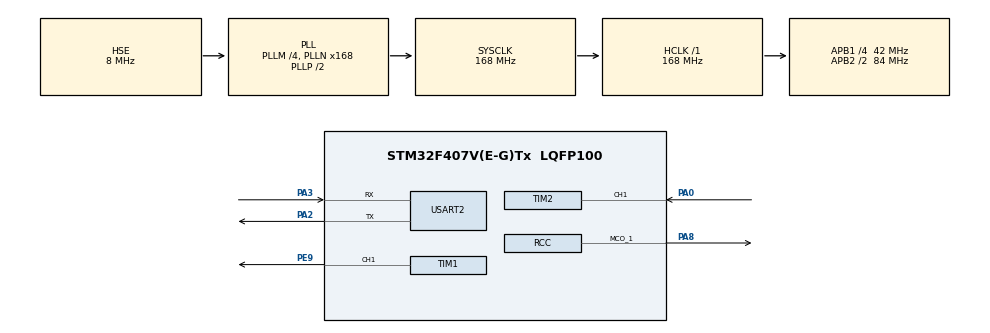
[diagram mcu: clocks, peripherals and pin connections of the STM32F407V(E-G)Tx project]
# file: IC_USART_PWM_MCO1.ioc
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Mcu.Family=STM32F4
Mcu.Name=STM32F407V(E-G)Tx
Mcu.Package=LQFP100
NVIC.PriorityGroup=NVIC_PRIORITYGROUP_4
NVIC.TIM2_IRQn=true\:0\:0\:false\:false\:true\:true\:true\:true
NVIC.USART2_IRQn=true\:0\:0\:false\:false\:true\:true\:true\:true
PA0-WKUP.Signal=S_TIM2_CH1_ETR
PA2.Mode=Asynchronous
PA2.Signal=USART2_TX
PA3.Mode=Asynchronous
PA3.Signal=USART2_RX
PA8.Mode=Clock-out-1
PA8.Signal=RCC_MCO_1
PC14-OSC32_IN.Mode=LSE-External-Oscillator
PC14-OSC32_IN.Signal=RCC_OSC32_IN
PC15-OSC32_OUT.Mode=LSE-External-Oscillator
PC15-OSC32_OUT.Signal=RCC_OSC32_OUT
PE9.Signal=S_TIM1_CH1
PH0-OSC_IN.Mode=HSE-External-Oscillator
PH0-OSC_IN.Signal=RCC_OSC_IN
PH1-OSC_OUT.Mode=HSE-External-Oscillator
PH1-OSC_OUT.Signal=RCC_OSC_OUT
ProjectManager.HeapSize=0x200
ProjectManager.StackSize=0x400
ProjectManager.TargetToolchain=STM32CubeIDE
RCC.48MHZClocksFreq_Value=84000000
RCC.AHBFreq_Value=168000000
RCC.APB1CLKDivider=RCC_HCLK_DIV4
RCC.APB1Freq_Value=42000000
RCC.APB1TimFreq_Value=84000000
RCC.APB2CLKDivider=RCC_HCLK_DIV2
RCC.APB2Freq_Value=84000000
RCC.APB2TimFreq_Value=168000000
RCC.CortexFreq_Value=168000000
RCC.HCLKFreq_Value=168000000
RCC.HSE_VALUE=8000000
RCC.HSI_VALUE=16000000
RCC.PLLM=4
RCC.PLLN=168
RCC.PLLSourceVirtual=RCC_PLLSOURCE_HSE
RCC.RCC_MCO1Source=RCC_MCO1SOURCE_LSE
RCC.RCC_MCODiv1=RCC_MCODIV_4
RCC.SYSCLKFreq_VALUE=168000000
RCC.SYSCLKSource=RCC_SYSCLKSOURCE_PLLCLK
RCC.VCOOutputFreq_Value=336000000
SH.S_TIM1_CH1.0=TIM1_CH1,PWM Generation1 CH1
SH.S_TIM2_CH1_ETR.0=TIM2_CH1,Input_Capture1_from_TI1
TIM1.Channel-PWM\ Generation1\ CH1=TIM_CHANNEL_1
TIM1.Period=100-1
TIM1.Prescaler=168-1
TIM2.Channel-Input_Capture1_from_TI1=TIM_CHANNEL_1
TIM2.Prescaler=84-1
USART2.VirtualMode=VM_ASYNC
VP_TIM1_VS_ClockSourceINT.Mode=Internal
VP_TIM2_VS_ClockSourceINT.Mode=Internal
board=custom

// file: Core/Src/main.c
/* USER CODE BEGIN Header */
/**
  ******************************************************************************
  * @file           : main.c
  * @brief          : Main program body
  ******************************************************************************
  * @attention
  *
  * Copyright (c) 2024 STMicroelectronics.
  * All rights reserved.
  *
  * This software is licensed under terms that can be found in the LICENSE file
  * in the root directory of this software component.
  * If no LICENSE file comes with this software, it is provided AS-IS.
  *
  ******************************************************************************
  */
/* USER CODE END Header */
#include "main.h"
#include <string.h>

TIM_HandleTypeDef htim1;
TIM_HandleTypeDef htim2;

UART_HandleTypeDef huart2;

void SystemClock_Config(void);
static void MX_GPIO_Init(void);
static void MX_TIM1_Init(void);
static void MX_TIM2_Init(void);
static void MX_USART2_UART_Init(void);
/* USER CODE BEGIN PFP */

#define TIMCLOCK   84000000
#define PRESCALAR  84

/* USER CODE END PFP */

/* USER CODE BEGIN 0 */

char *data = "Init\r\n";
uint8_t temp[4];
uint8_t data_buffer[100];
uint8_t rx_data;
uint32_t count = 0;

uint32_t IC_Val1 = 0;
uint32_t IC_Val2 = 0;
uint32_t Difference = 0;
int Is_First_Captured = 0;

/* Measure Frequency */
float frequency = 0;

void HAL_TIM_IC_CaptureCallback(TIM_HandleTypeDef *htim)
{
	if (htim->Channel == HAL_TIM_ACTIVE_CHANNEL_1)
	{
		if (Is_First_Captured==0) // if the first rising edge is not captured
		{
			IC_Val1 = HAL_TIM_ReadCapturedValue(htim, TIM_CHANNEL_1); // read the first value
			Is_First_Captured = 1;  // set the first captured as true
		}

		else   // If the first rising edge is captured, now we will capture the second edge
		{
			IC_Val2 = HAL_TIM_ReadCapturedValue(htim, TIM_CHANNEL_1);  // read second value

			if (IC_Val2 > IC_Val1)
			{
				Difference = IC_Val2-IC_Val1;
			}

			else if (IC_Val1 > IC_Val2)
			{
				Difference = (0xffffffff - IC_Val1) + IC_Val2;
			}

			float refClock = TIMCLOCK/(PRESCALAR);

			frequency = refClock/Difference;

			__HAL_TIM_SET_COUNTER(htim, 0);  // reset the counter
			Is_First_Captured = 0; // set it back to false
		}
	}
}

void HAL_UART_TxCpltCallback (UART_HandleTypeDef *hurat)
{
	memset(data, 0, strlen(data));
	memset(temp, 0, sizeof(temp));
}

void HAL_UART_RxCpltCallback(UART_HandleTypeDef *huart)
{

	 if(rx_data == '\r') //when enter is pressed go to this condition
	 {
		 data_buffer[count++]='\r';
		 HAL_UART_Transmit(huart,data_buffer,count,HAL_MAX_DELAY); //transmit the full sentence again
		 memset(data_buffer, 0, count); // enpty the data buffer
	 }
	 else
	 {
		 data_buffer[count++] = rx_data; // every time when interrput is happen, received 1 byte of data
	 }
	 HAL_UART_Receive_IT(&huart2,&rx_data,1);
}

/* USER CODE END 0 */

int main(void)
{

  /* MCU Configuration--------------------------------------------------------*/

  /* Reset of all peripherals, Initializes the Flash interface and the Systick. */
  HAL_Init();

  /* Configure the system clock */
  SystemClock_Config();

  /* Initialize all configured peripherals */
  MX_GPIO_Init();
  MX_TIM1_Init();
  MX_TIM2_Init();
  MX_USART2_UART_Init();
  /* USER CODE BEGIN 2 */

  HAL_UART_Transmit_IT(&huart2, (uint8_t*)data, strlen(data));

  TIM1->CCR1 = 50;

  HAL_TIM_PWM_Start(&htim1, TIM_CHANNEL_1);
  data = "PWM Init\r\n";
  HAL_UART_Transmit_IT(&huart2, (uint8_t*)data, strlen(data));

  HAL_TIM_IC_Start_IT(&htim2, TIM_CHANNEL_1);
  data = "IC Init\r\n";
  HAL_UART_Transmit_IT(&huart2, (uint8_t*)data, strlen(data));

  /* USER CODE END 2 */

  /* Infinite loop */
  while (1)
  {
	  HAL_Delay (1000);
	  memcpy(temp, &frequency, 4);
	  HAL_UART_Transmit_IT(&huart2, (uint8_t*)temp, sizeof(temp));
  }
}

void SystemClock_Config(void)
{
  RCC_OscInitTypeDef RCC_OscInitStruct = {0};
  RCC_ClkInitTypeDef RCC_ClkInitStruct = {0};

  /** Configure the main internal regulator output voltage
  */
  __HAL_RCC_PWR_CLK_ENABLE();
  __HAL_PWR_VOLTAGESCALING_CONFIG(PWR_REGULATOR_VOLTAGE_SCALE1);

  /** Initializes the RCC Oscillators according to the specified parameters
  * in the RCC_OscInitTypeDef structure.
  */
  RCC_OscInitStruct.OscillatorType = RCC_OSCILLATORTYPE_HSE|RCC_OSCILLATORTYPE_LSE;
  RCC_OscInitStruct.HSEState = RCC_HSE_ON;
  RCC_OscInitStruct.LSEState = RCC_LSE_ON;
  RCC_OscInitStruct.PLL.PLLState = RCC_PLL_ON;
  RCC_OscInitStruct.PLL.PLLSource = RCC_PLLSOURCE_HSE;
  RCC_OscInitStruct.PLL.PLLM = 4;
  RCC_OscInitStruct.PLL.PLLN = 168;
  RCC_OscInitStruct.PLL.PLLP = RCC_PLLP_DIV2;
  RCC_OscInitStruct.PLL.PLLQ = 4;
  if (HAL_RCC_OscConfig(&RCC_OscInitStruct) != HAL_OK)
  {
    Error_Handler();
  }

  /** Initializes the CPU, AHB and APB buses clocks
  */
  RCC_ClkInitStruct.ClockType = RCC_CLOCKTYPE_HCLK|RCC_CLOCKTYPE_SYSCLK
                              |RCC_CLOCKTYPE_PCLK1|RCC_CLOCKTYPE_PCLK2;
  RCC_ClkInitStruct.SYSCLKSource = RCC_SYSCLKSOURCE_PLLCLK;
  RCC_ClkInitStruct.AHBCLKDivider = RCC_SYSCLK_DIV1;
  RCC_ClkInitStruct.APB1CLKDivider = RCC_HCLK_DIV4;
  RCC_ClkInitStruct.APB2CLKDivider = RCC_HCLK_DIV2;

  if (HAL_RCC_ClockConfig(&RCC_ClkInitStruct, FLASH_LATENCY_5) != HAL_OK)
  {
    Error_Handler();
  }
  HAL_RCC_MCOConfig(RCC_MCO1, RCC_MCO1SOURCE_LSE, RCC_MCODIV_4);
}

static void MX_TIM1_Init(void)
{

  TIM_ClockConfigTypeDef sClockSourceConfig = {0};
  TIM_MasterConfigTypeDef sMasterConfig = {0};
  TIM_OC_InitTypeDef sConfigOC = {0};
  TIM_BreakDeadTimeConfigTypeDef sBreakDeadTimeConfig = {0};

  htim1.Instance = TIM1;
  htim1.Init.Prescaler = 168-1;
  htim1.Init.CounterMode = TIM_COUNTERMODE_UP;
  htim1.Init.Period = 100-1;
  htim1.Init.ClockDivision = TIM_CLOCKDIVISION_DIV1;
  htim1.Init.RepetitionCounter = 0;
  htim1.Init.AutoReloadPreload = TIM_AUTORELOAD_PRELOAD_DISABLE;
  if (HAL_TIM_Base_Init(&htim1) != HAL_OK)
  {
    Error_Handler();
  }
  sClockSourceConfig.ClockSource = TIM_CLOCKSOURCE_INTERNAL;
  if (HAL_TIM_ConfigClockSource(&htim1, &sClockSourceConfig) != HAL_OK)
  {
    Error_Handler();
  }
  if (HAL_TIM_PWM_Init(&htim1) != HAL_OK)
  {
    Error_Handler();
  }
  sMasterConfig.MasterOutputTrigger = TIM_TRGO_RESET;
  sMasterConfig.MasterSlaveMode = TIM_MASTERSLAVEMODE_DISABLE;
  if (HAL_TIMEx_MasterConfigSynchronization(&htim1, &sMasterConfig) != HAL_OK)
  {
    Error_Handler();
  }
  sConfigOC.OCMode = TIM_OCMODE_PWM1;
  sConfigOC.Pulse = 0;
  sConfigOC.OCPolarity = TIM_OCPOLARITY_HIGH;
  sConfigOC.OCNPolarity = TIM_OCNPOLARITY_HIGH;
  sConfigOC.OCFastMode = TIM_OCFAST_DISABLE;
  sConfigOC.OCIdleState = TIM_OCIDLESTATE_RESET;
  sConfigOC.OCNIdleState = TIM_OCNIDLESTATE_RESET;
  if (HAL_TIM_PWM_ConfigChannel(&htim1, &sConfigOC, TIM_CHANNEL_1) != HAL_OK)
  {
    Error_Handler();
  }
  sBreakDeadTimeConfig.OffStateRunMode = TIM_OSSR_DISABLE;
  sBreakDeadTimeConfig.OffStateIDLEMode = TIM_OSSI_DISABLE;
  sBreakDeadTimeConfig.LockLevel = TIM_LOCKLEVEL_OFF;
  sBreakDeadTimeConfig.DeadTime = 0;
  sBreakDeadTimeConfig.BreakState = TIM_BREAK_DISABLE;
  sBreakDeadTimeConfig.BreakPolarity = TIM_BREAKPOLARITY_HIGH;
  sBreakDeadTimeConfig.AutomaticOutput = TIM_AUTOMATICOUTPUT_DISABLE;
  if (HAL_TIMEx_ConfigBreakDeadTime(&htim1, &sBreakDeadTimeConfig) != HAL_OK)
  {
    Error_Handler();
  }
  HAL_TIM_MspPostInit(&htim1);

}

static void MX_TIM2_Init(void)
{

  TIM_ClockConfigTypeDef sClockSourceConfig = {0};
  TIM_MasterConfigTypeDef sMasterConfig = {0};
  TIM_IC_InitTypeDef sConfigIC = {0};

  htim2.Instance = TIM2;
  htim2.Init.Prescaler = 84-1;
  htim2.Init.CounterMode = TIM_COUNTERMODE_UP;
  htim2.Init.Period = 4294967295;
  htim2.Init.ClockDivision = TIM_CLOCKDIVISION_DIV1;
  htim2.Init.AutoReloadPreload = TIM_AUTORELOAD_PRELOAD_DISABLE;
  if (HAL_TIM_Base_Init(&htim2) != HAL_OK)
  {
    Error_Handler();
  }
  sClockSourceConfig.ClockSource = TIM_CLOCKSOURCE_INTERNAL;
  if (HAL_TIM_ConfigClockSource(&htim2, &sClockSourceConfig) != HAL_OK)
  {
    Error_Handler();
  }
  if (HAL_TIM_IC_Init(&htim2) != HAL_OK)
  {
    Error_Handler();
  }
  sMasterConfig.MasterOutputTrigger = TIM_TRGO_RESET;
  sMasterConfig.MasterSlaveMode = TIM_MASTERSLAVEMODE_DISABLE;
  if (HAL_TIMEx_MasterConfigSynchronization(&htim2, &sMasterConfig) != HAL_OK)
  {
    Error_Handler();
  }
  sConfigIC.ICPolarity = TIM_INPUTCHANNELPOLARITY_RISING;
  sConfigIC.ICSelection = TIM_ICSELECTION_DIRECTTI;
  sConfigIC.ICPrescaler = TIM_ICPSC_DIV1;
  sConfigIC.ICFilter = 0;
  if (HAL_TIM_IC_ConfigChannel(&htim2, &sConfigIC, TIM_CHANNEL_1) != HAL_OK)
  {
    Error_Handler();
  }

}

static void MX_USART2_UART_Init(void)
{

  huart2.Instance = USART2;
  huart2.Init.BaudRate = 115200;
  huart2.Init.WordLength = UART_WORDLENGTH_8B;
  huart2.Init.StopBits = UART_STOPBITS_1;
  huart2.Init.Parity = UART_PARITY_NONE;
  huart2.Init.Mode = UART_MODE_TX_RX;
  huart2.Init.HwFlowCtl = UART_HWCONTROL_NONE;
  huart2.Init.OverSampling = UART_OVERSAMPLING_16;
  if (HAL_UART_Init(&huart2) != HAL_OK)
  {
    Error_Handler();
  }

}

static void MX_GPIO_Init(void)
{
  GPIO_InitTypeDef GPIO_InitStruct = {0};

  /* GPIO Ports Clock Enable */
  __HAL_RCC_GPIOC_CLK_ENABLE();
  __HAL_RCC_GPIOH_CLK_ENABLE();
  __HAL_RCC_GPIOA_CLK_ENABLE();
  __HAL_RCC_GPIOE_CLK_ENABLE();

  /*Configure GPIO pin : PA8 */
  GPIO_InitStruct.Pin = GPIO_PIN_8;
  GPIO_InitStruct.Mode = GPIO_MODE_AF_PP;
  GPIO_InitStruct.Pull = GPIO_NOPULL;
  GPIO_InitStruct.Speed = GPIO_SPEED_FREQ_LOW;
  GPIO_InitStruct.Alternate = GPIO_AF0_MCO;
  HAL_GPIO_Init(GPIOA, &GPIO_InitStruct);

}

void Error_Handler(void)
{
  __disable_irq();
  while (1)
  {
  }
}
